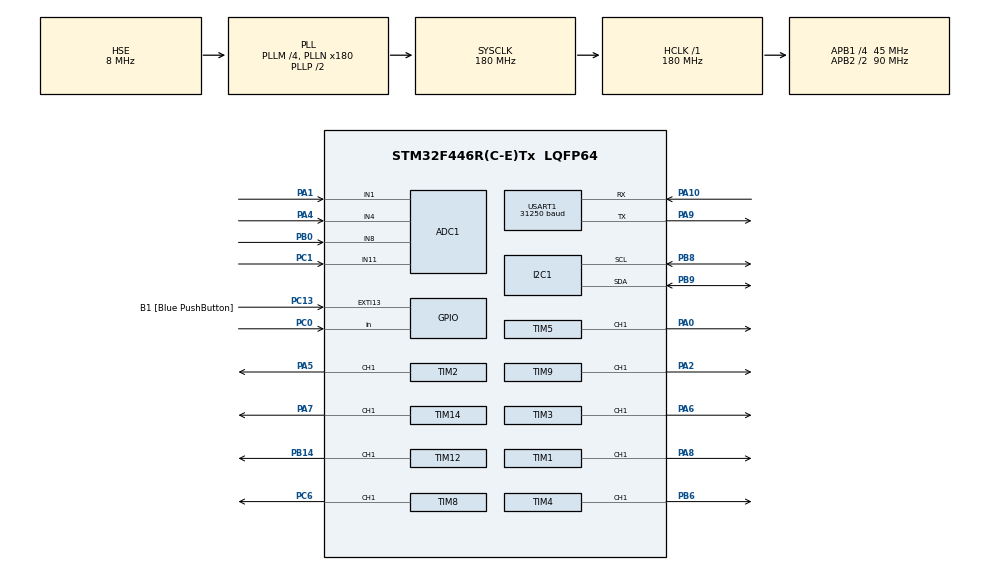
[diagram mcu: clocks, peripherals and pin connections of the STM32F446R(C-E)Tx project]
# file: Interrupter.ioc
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ADC1.Channel-0\#ChannelRegularConversion=ADC_CHANNEL_1
ADC1.Channel-1\#ChannelRegularConversion=ADC_CHANNEL_4
ADC1.Channel-2\#ChannelRegularConversion=ADC_CHANNEL_8
ADC1.Channel-3\#ChannelRegularConversion=ADC_CHANNEL_11
ADC1.ContinuousConvMode=ENABLE
ADC1.DMAContinuousRequests=ENABLE
ADC1.EOCSelection=ADC_EOC_SEQ_CONV
ADC1.InjNumberOfConversion=0
ADC1.NbrOfConversion=4
ADC1.NbrOfConversionFlag=1
ADC1.Rank-0\#ChannelRegularConversion=1
ADC1.Rank-1\#ChannelRegularConversion=2
ADC1.Rank-2\#ChannelRegularConversion=3
ADC1.Rank-3\#ChannelRegularConversion=4
ADC1.SamplingTime-0\#ChannelRegularConversion=ADC_SAMPLETIME_56CYCLES
ADC1.SamplingTime-1\#ChannelRegularConversion=ADC_SAMPLETIME_56CYCLES
ADC1.SamplingTime-2\#ChannelRegularConversion=ADC_SAMPLETIME_56CYCLES
ADC1.SamplingTime-3\#ChannelRegularConversion=ADC_SAMPLETIME_56CYCLES
ADC1.ScanConvMode=ENABLE
ADC1.master=1
Dma.ADC1.0.Direction=DMA_PERIPH_TO_MEMORY
Dma.ADC1.0.FIFOMode=DMA_FIFOMODE_DISABLE
Dma.ADC1.0.Instance=DMA2_Stream0
Dma.ADC1.0.MemDataAlignment=DMA_MDATAALIGN_HALFWORD
Dma.ADC1.0.MemInc=DMA_MINC_ENABLE
Dma.ADC1.0.Mode=DMA_CIRCULAR
Dma.ADC1.0.PeriphDataAlignment=DMA_PDATAALIGN_HALFWORD
Dma.ADC1.0.PeriphInc=DMA_PINC_DISABLE
Dma.ADC1.0.Priority=DMA_PRIORITY_LOW
Dma.Request0=ADC1
Mcu.Family=STM32F4
Mcu.Name=STM32F446R(C-E)Tx
Mcu.Package=LQFP64
NVIC.DMA2_Stream0_IRQn=true\:0\:0\:false\:false\:true\:false\:true\:true
NVIC.PriorityGroup=NVIC_PRIORITYGROUP_0
NVIC.TIM6_DAC_IRQn=true\:0\:0\:false\:false\:true\:false\:true\:true
NVIC.TimeBase=TIM6_DAC_IRQn
NVIC.TimeBaseIP=TIM6
NVIC.USART1_IRQn=true\:0\:0\:false\:false\:true\:true\:true\:true
PA0-WKUP.Signal=S_TIM5_CH1
PA1.Signal=ADCx_IN1
PA10.Mode=Asynchronous
PA10.Signal=USART1_RX
PA13.GPIO_Label=TMS
PA13.Mode=Serial_Wire
PA13.Signal=SYS_JTMS-SWDIO
PA14.GPIO_Label=TCK
PA14.Mode=Serial_Wire
PA14.Signal=SYS_JTCK-SWCLK
PA2.Signal=S_TIM9_CH1
PA4.Signal=ADCx_IN4
PA5.Signal=S_TIM2_CH1_ETR
PA6.Signal=S_TIM3_CH1
PA7.Signal=S_TIM14_CH1
PA8.Signal=S_TIM1_CH1
PA9.Mode=Asynchronous
PA9.Signal=USART1_TX
PB0.Signal=ADCx_IN8
PB14.Signal=S_TIM12_CH1
PB6.Signal=S_TIM4_CH1
PB8.Mode=I2C
PB8.Signal=I2C1_SCL
PB9.Mode=I2C
PB9.Signal=I2C1_SDA
PC0.GPIO_PuPd=GPIO_PULLUP
PC0.Signal=GPIO_Input
PC1.Signal=ADCx_IN11
PC13.GPIO_Label=B1 [Blue PushButton]
PC13.GPIO_ModeDefaultEXTI=GPIO_MODE_IT_FALLING
PC13.Signal=GPXTI13
PC6.Signal=S_TIM8_CH1
PH0-OSC_IN.Mode=HSE-External-Clock-Source
PH0-OSC_IN.Signal=RCC_OSC_IN
PH1-OSC_OUT.Mode=HSE-External-Clock-Source
PH1-OSC_OUT.Signal=RCC_OSC_OUT
ProjectManager.HeapSize=0x200
ProjectManager.StackSize=0x400
ProjectManager.TargetToolchain=STM32CubeIDE
RCC.48MHZClocksFreq_Value=84000000
RCC.AHBFreq_Value=180000000
RCC.APB1CLKDivider=RCC_HCLK_DIV4
RCC.APB1Freq_Value=45000000
RCC.APB1TimFreq_Value=90000000
RCC.APB2CLKDivider=RCC_HCLK_DIV2
RCC.APB2Freq_Value=90000000
RCC.APB2TimFreq_Value=180000000
RCC.CortexFreq_Value=180000000
RCC.FLatency-AdvancedSettings=FLASH_LATENCY_5
RCC.HCLKFreq_Value=180000000
RCC.HSE_VALUE=8000000
RCC.HSI_VALUE=16000000
RCC.PLLM=4
RCC.PLLN=180
RCC.PLLSourceVirtual=RCC_PLLSOURCE_HSE
RCC.SYSCLKFreq_VALUE=180000000
RCC.SYSCLKSource=RCC_SYSCLKSOURCE_PLLCLK
RCC.USBFreq_Value=180000000
RCC.VCOOutputFreq_Value=360000000
SH.ADCx_IN1.0=ADC1_IN1,IN1
SH.ADCx_IN11.0=ADC1_IN11,IN11
SH.ADCx_IN4.0=ADC1_IN4,IN4
SH.ADCx_IN8.0=ADC1_IN8,IN8
SH.S_TIM12_CH1.0=TIM12_CH1,PWM Generation1 CH1
SH.S_TIM14_CH1.0=TIM14_CH1,PWM Generation1 CH1
SH.S_TIM1_CH1.0=TIM1_CH1,PWM Generation1 CH1
SH.S_TIM2_CH1_ETR.0=TIM2_CH1,PWM Generation1 CH1
SH.S_TIM3_CH1.0=TIM3_CH1,PWM Generation1 CH1
SH.S_TIM4_CH1.0=TIM4_CH1,PWM Generation1 CH1
SH.S_TIM5_CH1.0=TIM5_CH1,PWM Generation1 CH1
SH.S_TIM8_CH1.0=TIM8_CH1,PWM Generation1 CH1
SH.S_TIM9_CH1.0=TIM9_CH1,PWM Generation1 CH1
TIM1.Channel-PWM\ Generation1\ CH1=TIM_CHANNEL_1
TIM12.Channel-PWM\ Generation1\ CH1=TIM_CHANNEL_1
TIM12.Prescaler=89
TIM14.Channel=TIM_CHANNEL_1
TIM14.Prescaler=179
TIM2.Channel-PWM\ Generation1\ CH1=TIM_CHANNEL_1
TIM2.Prescaler=89
TIM3.Channel-PWM\ Generation1\ CH1=TIM_CHANNEL_1
TIM3.Prescaler=89
TIM4.Channel-PWM\ Generation1\ CH1=TIM_CHANNEL_1
TIM4.Prescaler=89
TIM5.Channel-PWM\ Generation1\ CH1=TIM_CHANNEL_1
TIM5.Prescaler=89
TIM8.Channel-PWM\ Generation1\ CH1=TIM_CHANNEL_1
TIM8.Prescaler=179
TIM9.Channel-PWM\ Generation1\ CH1=TIM_CHANNEL_1
TIM9.Prescaler=179
USART1.BaudRate=31250
USART1.VirtualMode=VM_ASYNC
VP_SYS_VS_tim6.Mode=TIM6
VP_TIM12_VS_ClockSourceINT.Mode=Internal
VP_TIM14_VS_ClockSourceINT.Mode=Enable_Timer
VP_TIM1_VS_ClockSourceINT.Mode=Internal
VP_TIM2_VS_ClockSourceINT.Mode=Internal
VP_TIM3_VS_ClockSourceINT.Mode=Internal
VP_TIM4_VS_ClockSourceINT.Mode=Internal
VP_TIM5_VS_ClockSourceINT.Mode=Internal
VP_TIM8_VS_ClockSourceINT.Mode=Internal
VP_TIM9_VS_ClockSourceINT.Mode=Internal
board=NUCLEO-F446RE

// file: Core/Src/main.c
/* USER CODE BEGIN Header */
/* USER CODE END Header */
#include "main.h"

/* USER CODE BEGIN Includes */
#include "lcd_driver.h"
#include <stdio.h>
#include <stdlib.h>
#include <math.h>
/* USER CODE END Includes */

/* USER CODE BEGIN PTD */
// アプリケーションの動作モードを定義
typedef enum {
  MODE_PULSE, // パルスモード
  MODE_MIDI,   // MIDIモード
  MODE_MIDI_LOUDNESS  // ★MIDIモード（音圧調整版）を追加
} AppMode_t;
// --- ↓MIDIヴォイスの状態を管理する構造体を定義↓ ---
typedef struct {
	uint8_t active;       // ヴォイスが使用中か (1:使用中, 0:空き)
	uint8_t note_number;  // 発音中のノート番号
	uint32_t arr;         // その音の周期(ARR)
} MidiVoice_t;
/* USER CODE END PTD */

/* USER CODE BEGIN PD */
// --- ファンクションジェネレータ(FG)機能の定数定義 ---
// D7(TIM1)を使用するように修正
#define FG_TIM_CLK 180000000UL // TIM1のクロック周波数 (180MHz)
#define FG_FREQ_MIN 90000UL    // FGの最低周波数 (90kHz)
#define FG_FREQ_MAX 300000UL   // FGの最高周波数 (300kHz)
#define FG_FINE_TUNE_HZ 10000UL // ★微調整の全範囲(Hz)。例: 10kHz

// 周波数からタイマーのARR(周期)レジスタの値を計算するためのマクロ
// 180MHzクロックで再計算
#define FG_ARR_MAX ((FG_TIM_CLK / FG_FREQ_MIN) - 1) // 1999
#define FG_ARR_MIN ((FG_TIM_CLK / FG_FREQ_MAX) - 1) // 599

// 可変抵抗のADC値の合計の最大値 (A3:4095 + A4:4095)
#define FG_ADC_TOTAL_MAX (4095 + 4095)

// --- パルスモード用の定数 (TIM2 Prescaler=8 向け) ---
#define PULSE_FREQ_MIN 1UL
#define PULSE_FREQ_MAX 440UL
#define PULSE_TIM_CLK 90000000UL
#define PULSE_TIM_PSC 8
#define PULSE_CLOCKS_PER_COUNT (PULSE_TIM_PSC + 1)
#define PULSE_COUNTS_PER_SEC (PULSE_TIM_CLK / PULSE_CLOCKS_PER_COUNT) // 10,000,000
#define PULSE_ON_TIME_MAX_US 60UL
#define ADC_DEAD_ZONE 150

// --- MIDIモード用のタイマー定数 ---
#define MIDI_COUNTS_PER_SEC 1000000UL // ★★★ この行を追加 ★★★
#define PULSE_TIM2_PSC 8      // パルスモードで使うTIM2のプリスケーラー値
#define MIDI_TIM2_PSC  89     // MIDIモードで使うTIM2のプリスケーラー値

#define MIDI_MODE_SELECT_MIN_ADC 100  // この値より下なら「最低値」とみなす
#define MIDI_MODE_SELECT_MAX_ADC 2048 // この値より上なら「最大値」とみなす

// --- 移動平均フィルタ用の追加変数 ---
#define MOVING_AVERAGE_SAMPLES 10  // 平均を取るサンプル数。5は一般的な値です。
#define HYSTERESIS_THRESHOLD 12    // ヒステリシスのしきい値

// ADCの過去の測定値を保存する履歴用の2次元配列
uint16_t adc_history[4][MOVING_AVERAGE_SAMPLES] = {{0}}; // {{0}}で全要素を0に初期化
// 次にデータを書き込む履歴配列の場所を示すインデックス
uint8_t adc_history_index = 0;
/* USER CODE END PD */

ADC_HandleTypeDef hadc1;
DMA_HandleTypeDef hdma_adc1;

I2C_HandleTypeDef hi2c1;

TIM_HandleTypeDef htim1;
TIM_HandleTypeDef htim2;
TIM_HandleTypeDef htim3;
TIM_HandleTypeDef htim4;
TIM_HandleTypeDef htim5;
TIM_HandleTypeDef htim8;
TIM_HandleTypeDef htim9;
TIM_HandleTypeDef htim12;
TIM_HandleTypeDef htim14;

UART_HandleTypeDef huart1;

/* USER CODE BEGIN PV */
AppMode_t current_mode; // 現在の動作モードを保存する変数
volatile uint16_t adc_values[4];
uint16_t stable_adc_values[4] = {0}; // 安定化したADC値を保存する配列
float fg_frequency = 0.0f; // FGの現在周波数を格納する変数
char lcd_buffer[4][21]; // ★ここに lcd_buffer を移動する
uint32_t pulse_frequency = 0;
float pulse_on_time_us = 0.0f;
float midi_duty_cycle = 50.0f; // ★MIDIモードのDuty比を保存する変数
uint8_t midi_rx_byte; // 受信したMIDIデータを1バイト格納する
uint32_t current_midi_arr = 0;
// --- ↓2和音の各ヴォイスの状態を保存する配列を追加↓ ---
#define NUM_MIDI_VOICES 8
MidiVoice_t midi_voices[NUM_MIDI_VOICES];

// --- ↓リングバッファ用の変数を追加↓ ---
#define MIDI_BUFFER_SIZE 64 // バッファサイズ(必ず2のべき乗)
uint8_t midi_buffer[MIDI_BUFFER_SIZE];
volatile uint16_t midi_buffer_head = 0;

static int current_tim2_prescaler = -1;  // Prescalerの現在値を保持

volatile uint16_t midi_buffer_tail = 0;
volatile uint8_t midi_voices_full_flag = 0; // ★ヴォイスが満杯になったかどうかのフラグ
/* USER CODE END PV */

void SystemClock_Config(void);
static void MX_GPIO_Init(void);
static void MX_DMA_Init(void);
static void MX_ADC1_Init(void);
static void MX_I2C1_Init(void);
static void MX_TIM1_Init(void);
static void MX_TIM2_Init(void);
static void MX_TIM3_Init(void);
static void MX_TIM4_Init(void);
static void MX_TIM5_Init(void);
static void MX_TIM8_Init(void);
static void MX_TIM9_Init(void);
static void MX_TIM12_Init(void);
static void MX_TIM14_Init(void);
static void MX_USART1_UART_Init(void);
/* USER CODE BEGIN PFP */
void Update_Inputs(void);
void Update_Function_Generator(void);
void Update_Pulse_Mode(void); // ★この行を追加
void Update_LCD(void);
void Update_MIDI_Mode(void);
void Process_MIDI_Byte(uint8_t byte);
uint8_t Midi_NoteOn(uint8_t note, uint8_t velocity); // ★追加
void Midi_NoteOff(uint8_t note);                  // ★追加
float Midi_Note_To_Frequency(uint8_t note);
float Get_Adjusted_Duty(uint8_t note_number); // ★この行を追加
void Set_TIM2_Prescaler(uint16_t new_prescaler);
/* USER CODE END PFP */

int main(void)
{

  /* MCU Configuration--------------------------------------------------------*/

  /* Reset of all peripherals, Initializes the Flash interface and the Systick. */
  HAL_Init();

  /* USER CODE BEGIN Init */
  HAL_Delay(2000);
  /* USER CODE END Init */

  /* Configure the system clock */
  SystemClock_Config();

  /* Initialize all configured peripherals */
  MX_GPIO_Init();
  MX_DMA_Init();
  MX_ADC1_Init();
  MX_I2C1_Init();
  MX_TIM1_Init();
  MX_TIM2_Init();
  MX_TIM3_Init();
  MX_TIM4_Init();
  MX_TIM5_Init();
  MX_TIM8_Init();
  MX_TIM9_Init();
  MX_TIM12_Init();
  MX_TIM14_Init();
  MX_USART1_UART_Init();
  /* USER CODE BEGIN 2 */
  HAL_Delay(50);
  lcd_init();
  HAL_ADC_Start_DMA(&hadc1, (uint32_t*)adc_values, 4);

  // --- 全てのタイマーのPWM出力を開始 ---
  HAL_TIM_PWM_Start(&htim1, TIM_CHANNEL_1);
  HAL_TIM_PWM_Start(&htim2, TIM_CHANNEL_1);
  HAL_TIM_PWM_Start(&htim3, TIM_CHANNEL_1);
  HAL_TIM_PWM_Start(&htim4, TIM_CHANNEL_1);
  HAL_TIM_PWM_Start(&htim5, TIM_CHANNEL_1);
  HAL_TIM_PWM_Start(&htim8, TIM_CHANNEL_1);
  HAL_TIM_PWM_Start(&htim9, TIM_CHANNEL_1);
  HAL_TIM_PWM_Start(&htim12, TIM_CHANNEL_1);
  HAL_TIM_PWM_Start(&htim14, TIM_CHANNEL_1);

  // ★★★ ここからモード選択処理 ★★★

  // ADCの最初の読み取りが完了するのを少し待つ
  HAL_Delay(10);
  // 移動平均フィルタの履歴バッファを現在のADC値で満たすために、
  // サンプル数と同じ回数だけUpdate_Inputs()を呼び出す
  for (int i = 0; i < MOVING_AVERAGE_SAMPLES; i++) {
      Update_Inputs();
      HAL_Delay(1); // ADCの更新を待つためのごく短い遅延
  }

  // トグルスイッチ(A5)の状態で、パルスモードかMIDI系モードかを判断
  if (HAL_GPIO_ReadPin(GPIOC, GPIO_PIN_0) == GPIO_PIN_SET) {
    // スイッチがONなら、パルスモード
    current_mode = MODE_PULSE;
  } else {
    // スイッチがOFFなら、可変抵抗(A2)の値でMIDIモードの種類を判断
    if (stable_adc_values[1] > MIDI_MODE_SELECT_MAX_ADC) {
      // A2が最大値なら、音圧調整版MIDIモード
      current_mode = MODE_MIDI_LOUDNESS;
    } else {
      // それ以外（最低値や中間）なら、通常MIDIモード
      current_mode = MODE_MIDI;
    }
  }

  // ★★★ ここまでモード選択処理 ★★★

  // MIDI(UART)の受信を開始
  HAL_UART_Receive_IT(&huart1, &midi_rx_byte, 1);
  /* USER CODE END 2 */

  /* Infinite loop */
  /* USER CODE BEGIN WHILE */
  while (1)
  {
	  Update_Inputs();

	  if (current_mode == MODE_PULSE) {
		  Update_Pulse_Mode();
	  } else { // MIDIモードの場合
		  Update_MIDI_Mode(); // ★追加
	  }

	  Update_Function_Generator();
	  Update_LCD();
    /* USER CODE END WHILE */

  }
}

void SystemClock_Config(void)
{
  RCC_OscInitTypeDef RCC_OscInitStruct = {0};
  RCC_ClkInitTypeDef RCC_ClkInitStruct = {0};

  /** Configure the main internal regulator output voltage
  */
  __HAL_RCC_PWR_CLK_ENABLE();
  __HAL_PWR_VOLTAGESCALING_CONFIG(PWR_REGULATOR_VOLTAGE_SCALE1);

  /** Initializes the RCC Oscillators according to the specified parameters
  * in the RCC_OscInitTypeDef structure.
  */
  RCC_OscInitStruct.OscillatorType = RCC_OSCILLATORTYPE_HSE;
  RCC_OscInitStruct.HSEState = RCC_HSE_BYPASS;
  RCC_OscInitStruct.PLL.PLLState = RCC_PLL_ON;
  RCC_OscInitStruct.PLL.PLLSource = RCC_PLLSOURCE_HSE;
  RCC_OscInitStruct.PLL.PLLM = 4;
  RCC_OscInitStruct.PLL.PLLN = 180;
  RCC_OscInitStruct.PLL.PLLP = RCC_PLLP_DIV2;
  RCC_OscInitStruct.PLL.PLLQ = 2;
  RCC_OscInitStruct.PLL.PLLR = 2;
  if (HAL_RCC_OscConfig(&RCC_OscInitStruct) != HAL_OK)
  {
    Error_Handler();
  }

  /** Activate the Over-Drive mode
  */
  if (HAL_PWREx_EnableOverDrive() != HAL_OK)
  {
    Error_Handler();
  }

  /** Initializes the CPU, AHB and APB buses clocks
  */
  RCC_ClkInitStruct.ClockType = RCC_CLOCKTYPE_HCLK|RCC_CLOCKTYPE_SYSCLK
                              |RCC_CLOCKTYPE_PCLK1|RCC_CLOCKTYPE_PCLK2;
  RCC_ClkInitStruct.SYSCLKSource = RCC_SYSCLKSOURCE_PLLCLK;
  RCC_ClkInitStruct.AHBCLKDivider = RCC_SYSCLK_DIV1;
  RCC_ClkInitStruct.APB1CLKDivider = RCC_HCLK_DIV4;
  RCC_ClkInitStruct.APB2CLKDivider = RCC_HCLK_DIV2;

  if (HAL_RCC_ClockConfig(&RCC_ClkInitStruct, FLASH_LATENCY_5) != HAL_OK)
  {
    Error_Handler();
  }
}

static void MX_ADC1_Init(void)
{

  ADC_ChannelConfTypeDef sConfig = {0};

  /** Configure the global features of the ADC (Clock, Resolution, Data Alignment and number of conversion)
  */
  hadc1.Instance = ADC1;
  hadc1.Init.ClockPrescaler = ADC_CLOCK_SYNC_PCLK_DIV4;
  hadc1.Init.Resolution = ADC_RESOLUTION_12B;
  hadc1.Init.ScanConvMode = ENABLE;
  hadc1.Init.ContinuousConvMode = ENABLE;
  hadc1.Init.DiscontinuousConvMode = DISABLE;
  hadc1.Init.ExternalTrigConvEdge = ADC_EXTERNALTRIGCONVEDGE_NONE;
  hadc1.Init.ExternalTrigConv = ADC_SOFTWARE_START;
  hadc1.Init.DataAlign = ADC_DATAALIGN_RIGHT;
  hadc1.Init.NbrOfConversion = 4;
  hadc1.Init.DMAContinuousRequests = ENABLE;
  hadc1.Init.EOCSelection = ADC_EOC_SEQ_CONV;
  if (HAL_ADC_Init(&hadc1) != HAL_OK)
  {
    Error_Handler();
  }

  /** Configure for the selected ADC regular channel its corresponding rank in the sequencer and its sample time.
  */
  sConfig.Channel = ADC_CHANNEL_1;
  sConfig.Rank = 1;
  sConfig.SamplingTime = ADC_SAMPLETIME_480CYCLES;
  if (HAL_ADC_ConfigChannel(&hadc1, &sConfig) != HAL_OK)
  {
    Error_Handler();
  }

  /** Configure for the selected ADC regular channel its corresponding rank in the sequencer and its sample time.
  */
  sConfig.Channel = ADC_CHANNEL_4;
  sConfig.Rank = 2;
  sConfig.SamplingTime = ADC_SAMPLETIME_480CYCLES;
  if (HAL_ADC_ConfigChannel(&hadc1, &sConfig) != HAL_OK)
  {
    Error_Handler();
  }

  /** Configure for the selected ADC regular channel its corresponding rank in the sequencer and its sample time.
  */
  sConfig.Channel = ADC_CHANNEL_8;
  sConfig.Rank = 3;
  sConfig.SamplingTime = ADC_SAMPLETIME_480CYCLES;
  if (HAL_ADC_ConfigChannel(&hadc1, &sConfig) != HAL_OK)
  {
    Error_Handler();
  }

  /** Configure for the selected ADC regular channel its corresponding rank in the sequencer and its sample time.
  */
  sConfig.Channel = ADC_CHANNEL_11;
  sConfig.Rank = 4;
  sConfig.SamplingTime = ADC_SAMPLETIME_480CYCLES;
  if (HAL_ADC_ConfigChannel(&hadc1, &sConfig) != HAL_OK)
  {
    Error_Handler();
  }

}

static void MX_I2C1_Init(void)
{

  hi2c1.Instance = I2C1;
  hi2c1.Init.ClockSpeed = 100000;
  hi2c1.Init.DutyCycle = I2C_DUTYCYCLE_2;
  hi2c1.Init.OwnAddress1 = 0;
  hi2c1.Init.AddressingMode = I2C_ADDRESSINGMODE_7BIT;
  hi2c1.Init.DualAddressMode = I2C_DUALADDRESS_DISABLE;
  hi2c1.Init.OwnAddress2 = 0;
  hi2c1.Init.GeneralCallMode = I2C_GENERALCALL_DISABLE;
  hi2c1.Init.NoStretchMode = I2C_NOSTRETCH_DISABLE;
  if (HAL_I2C_Init(&hi2c1) != HAL_OK)
  {
    Error_Handler();
  }

}

static void MX_TIM1_Init(void)
{

  TIM_ClockConfigTypeDef sClockSourceConfig = {0};
  TIM_MasterConfigTypeDef sMasterConfig = {0};
  TIM_OC_InitTypeDef sConfigOC = {0};
  TIM_BreakDeadTimeConfigTypeDef sBreakDeadTimeConfig = {0};

  htim1.Instance = TIM1;
  htim1.Init.Prescaler = 0;
  htim1.Init.CounterMode = TIM_COUNTERMODE_UP;
  htim1.Init.Period = 65535;
  htim1.Init.ClockDivision = TIM_CLOCKDIVISION_DIV1;
  htim1.Init.RepetitionCounter = 0;
  htim1.Init.AutoReloadPreload = TIM_AUTORELOAD_PRELOAD_DISABLE;
  if (HAL_TIM_Base_Init(&htim1) != HAL_OK)
  {
    Error_Handler();
  }
  sClockSourceConfig.ClockSource = TIM_CLOCKSOURCE_INTERNAL;
  if (HAL_TIM_ConfigClockSource(&htim1, &sClockSourceConfig) != HAL_OK)
  {
    Error_Handler();
  }
  if (HAL_TIM_PWM_Init(&htim1) != HAL_OK)
  {
    Error_Handler();
  }
  sMasterConfig.MasterOutputTrigger = TIM_TRGO_RESET;
  sMasterConfig.MasterSlaveMode = TIM_MASTERSLAVEMODE_DISABLE;
  if (HAL_TIMEx_MasterConfigSynchronization(&htim1, &sMasterConfig) != HAL_OK)
  {
    Error_Handler();
  }
  sConfigOC.OCMode = TIM_OCMODE_PWM1;
  sConfigOC.Pulse = 0;
  sConfigOC.OCPolarity = TIM_OCPOLARITY_HIGH;
  sConfigOC.OCNPolarity = TIM_OCNPOLARITY_HIGH;
  sConfigOC.OCFastMode = TIM_OCFAST_DISABLE;
  sConfigOC.OCIdleState = TIM_OCIDLESTATE_RESET;
  sConfigOC.OCNIdleState = TIM_OCNIDLESTATE_RESET;
  if (HAL_TIM_PWM_ConfigChannel(&htim1, &sConfigOC, TIM_CHANNEL_1) != HAL_OK)
  {
    Error_Handler();
  }
  sBreakDeadTimeConfig.OffStateRunMode = TIM_OSSR_DISABLE;
  sBreakDeadTimeConfig.OffStateIDLEMode = TIM_OSSI_DISABLE;
  sBreakDeadTimeConfig.LockLevel = TIM_LOCKLEVEL_OFF;
  sBreakDeadTimeConfig.DeadTime = 0;
  sBreakDeadTimeConfig.BreakState = TIM_BREAK_DISABLE;
  sBreakDeadTimeConfig.BreakPolarity = TIM_BREAKPOLARITY_HIGH;
  sBreakDeadTimeConfig.AutomaticOutput = TIM_AUTOMATICOUTPUT_DISABLE;
  if (HAL_TIMEx_ConfigBreakDeadTime(&htim1, &sBreakDeadTimeConfig) != HAL_OK)
  {
    Error_Handler();
  }
  HAL_TIM_MspPostInit(&htim1);

}

static void MX_TIM2_Init(void)
{

  TIM_ClockConfigTypeDef sClockSourceConfig = {0};
  TIM_MasterConfigTypeDef sMasterConfig = {0};
  TIM_OC_InitTypeDef sConfigOC = {0};

  htim2.Instance = TIM2;
  htim2.Init.Prescaler = 89;
  htim2.Init.CounterMode = TIM_COUNTERMODE_UP;
  htim2.Init.Period = 4294967295;
  htim2.Init.ClockDivision = TIM_CLOCKDIVISION_DIV1;
  htim2.Init.AutoReloadPreload = TIM_AUTORELOAD_PRELOAD_DISABLE;
  if (HAL_TIM_Base_Init(&htim2) != HAL_OK)
  {
    Error_Handler();
  }
  sClockSourceConfig.ClockSource = TIM_CLOCKSOURCE_INTERNAL;
  if (HAL_TIM_ConfigClockSource(&htim2, &sClockSourceConfig) != HAL_OK)
  {
    Error_Handler();
  }
  if (HAL_TIM_PWM_Init(&htim2) != HAL_OK)
  {
    Error_Handler();
  }
  sMasterConfig.MasterOutputTrigger = TIM_TRGO_RESET;
  sMasterConfig.MasterSlaveMode = TIM_MASTERSLAVEMODE_DISABLE;
  if (HAL_TIMEx_MasterConfigSynchronization(&htim2, &sMasterConfig) != HAL_OK)
  {
    Error_Handler();
  }
  sConfigOC.OCMode = TIM_OCMODE_PWM1;
  sConfigOC.Pulse = 0;
  sConfigOC.OCPolarity = TIM_OCPOLARITY_HIGH;
  sConfigOC.OCFastMode = TIM_OCFAST_DISABLE;
  if (HAL_TIM_PWM_ConfigChannel(&htim2, &sConfigOC, TIM_CHANNEL_1) != HAL_OK)
  {
    Error_Handler();
  }
  HAL_TIM_MspPostInit(&htim2);

}

static void MX_TIM3_Init(void)
{

  TIM_ClockConfigTypeDef sClockSourceConfig = {0};
  TIM_MasterConfigTypeDef sMasterConfig = {0};
  TIM_OC_InitTypeDef sConfigOC = {0};

  htim3.Instance = TIM3;
  htim3.Init.Prescaler = 89;
  htim3.Init.CounterMode = TIM_COUNTERMODE_UP;
  htim3.Init.Period = 65535;
  htim3.Init.ClockDivision = TIM_CLOCKDIVISION_DIV1;
  htim3.Init.AutoReloadPreload = TIM_AUTORELOAD_PRELOAD_DISABLE;
  if (HAL_TIM_Base_Init(&htim3) != HAL_OK)
  {
    Error_Handler();
  }
  sClockSourceConfig.ClockSource = TIM_CLOCKSOURCE_INTERNAL;
  if (HAL_TIM_ConfigClockSource(&htim3, &sClockSourceConfig) != HAL_OK)
  {
    Error_Handler();
  }
  if (HAL_TIM_PWM_Init(&htim3) != HAL_OK)
  {
    Error_Handler();
  }
  sMasterConfig.MasterOutputTrigger = TIM_TRGO_RESET;
  sMasterConfig.MasterSlaveMode = TIM_MASTERSLAVEMODE_DISABLE;
  if (HAL_TIMEx_MasterConfigSynchronization(&htim3, &sMasterConfig) != HAL_OK)
  {
    Error_Handler();
  }
  sConfigOC.OCMode = TIM_OCMODE_PWM1;
  sConfigOC.Pulse = 0;
  sConfigOC.OCPolarity = TIM_OCPOLARITY_HIGH;
  sConfigOC.OCFastMode = TIM_OCFAST_DISABLE;
  if (HAL_TIM_PWM_ConfigChannel(&htim3, &sConfigOC, TIM_CHANNEL_1) != HAL_OK)
  {
    Error_Handler();
  }
  HAL_TIM_MspPostInit(&htim3);

}

static void MX_TIM4_Init(void)
{

  TIM_ClockConfigTypeDef sClockSourceConfig = {0};
  TIM_MasterConfigTypeDef sMasterConfig = {0};
  TIM_OC_InitTypeDef sConfigOC = {0};

  htim4.Instance = TIM4;
  htim4.Init.Prescaler = 89;
  htim4.Init.CounterMode = TIM_COUNTERMODE_UP;
  htim4.Init.Period = 65535;
  htim4.Init.ClockDivision = TIM_CLOCKDIVISION_DIV1;
  htim4.Init.AutoReloadPreload = TIM_AUTORELOAD_PRELOAD_DISABLE;
  if (HAL_TIM_Base_Init(&htim4) != HAL_OK)
  {
    Error_Handler();
  }
  sClockSourceConfig.ClockSource = TIM_CLOCKSOURCE_INTERNAL;
  if (HAL_TIM_ConfigClockSource(&htim4, &sClockSourceConfig) != HAL_OK)
  {
    Error_Handler();
  }
  if (HAL_TIM_PWM_Init(&htim4) != HAL_OK)
  {
    Error_Handler();
  }
  sMasterConfig.MasterOutputTrigger = TIM_TRGO_RESET;
  sMasterConfig.MasterSlaveMode = TIM_MASTERSLAVEMODE_DISABLE;
  if (HAL_TIMEx_MasterConfigSynchronization(&htim4, &sMasterConfig) != HAL_OK)
  {
    Error_Handler();
  }
  sConfigOC.OCMode = TIM_OCMODE_PWM1;
  sConfigOC.Pulse = 0;
  sConfigOC.OCPolarity = TIM_OCPOLARITY_HIGH;
  sConfigOC.OCFastMode = TIM_OCFAST_DISABLE;
  if (HAL_TIM_PWM_ConfigChannel(&htim4, &sConfigOC, TIM_CHANNEL_1) != HAL_OK)
  {
    Error_Handler();
  }
  HAL_TIM_MspPostInit(&htim4);

}

static void MX_TIM5_Init(void)
{

  TIM_ClockConfigTypeDef sClockSourceConfig = {0};
  TIM_MasterConfigTypeDef sMasterConfig = {0};
  TIM_OC_InitTypeDef sConfigOC = {0};

  htim5.Instance = TIM5;
  htim5.Init.Prescaler = 89;
  htim5.Init.CounterMode = TIM_COUNTERMODE_UP;
  htim5.Init.Period = 4294967295;
  htim5.Init.ClockDivision = TIM_CLOCKDIVISION_DIV1;
  htim5.Init.AutoReloadPreload = TIM_AUTORELOAD_PRELOAD_DISABLE;
  if (HAL_TIM_Base_Init(&htim5) != HAL_OK)
  {
    Error_Handler();
  }
  sClockSourceConfig.ClockSource = TIM_CLOCKSOURCE_INTERNAL;
  if (HAL_TIM_ConfigClockSource(&htim5, &sClockSourceConfig) != HAL_OK)
  {
    Error_Handler();
  }
  if (HAL_TIM_PWM_Init(&htim5) != HAL_OK)
  {
    Error_Handler();
  }
  sMasterConfig.MasterOutputTrigger = TIM_TRGO_RESET;
  sMasterConfig.MasterSlaveMode = TIM_MASTERSLAVEMODE_DISABLE;
  if (HAL_TIMEx_MasterConfigSynchronization(&htim5, &sMasterConfig) != HAL_OK)
  {
    Error_Handler();
  }
  sConfigOC.OCMode = TIM_OCMODE_PWM1;
  sConfigOC.Pulse = 0;
  sConfigOC.OCPolarity = TIM_OCPOLARITY_HIGH;
  sConfigOC.OCFastMode = TIM_OCFAST_DISABLE;
  if (HAL_TIM_PWM_ConfigChannel(&htim5, &sConfigOC, TIM_CHANNEL_1) != HAL_OK)
  {
    Error_Handler();
  }
  HAL_TIM_MspPostInit(&htim5);

}

static void MX_TIM8_Init(void)
{

  TIM_ClockConfigTypeDef sClockSourceConfig = {0};
  TIM_MasterConfigTypeDef sMasterConfig = {0};
  TIM_OC_InitTypeDef sConfigOC = {0};
  TIM_BreakDeadTimeConfigTypeDef sBreakDeadTimeConfig = {0};

  htim8.Instance = TIM8;
  htim8.Init.Prescaler = 179;
  htim8.Init.CounterMode = TIM_COUNTERMODE_UP;
  htim8.Init.Period = 65535;
  htim8.Init.ClockDivision = TIM_CLOCKDIVISION_DIV1;
  htim8.Init.RepetitionCounter = 0;
  htim8.Init.AutoReloadPreload = TIM_AUTORELOAD_PRELOAD_DISABLE;
  if (HAL_TIM_Base_Init(&htim8) != HAL_OK)
  {
    Error_Handler();
  }
  sClockSourceConfig.ClockSource = TIM_CLOCKSOURCE_INTERNAL;
  if (HAL_TIM_ConfigClockSource(&htim8, &sClockSourceConfig) != HAL_OK)
  {
    Error_Handler();
  }
  if (HAL_TIM_PWM_Init(&htim8) != HAL_OK)
  {
    Error_Handler();
  }
  sMasterConfig.MasterOutputTrigger = TIM_TRGO_RESET;
  sMasterConfig.MasterSlaveMode = TIM_MASTERSLAVEMODE_DISABLE;
  if (HAL_TIMEx_MasterConfigSynchronization(&htim8, &sMasterConfig) != HAL_OK)
  {
    Error_Handler();
  }
  sConfigOC.OCMode = TIM_OCMODE_PWM1;
  sConfigOC.Pulse = 0;
  sConfigOC.OCPolarity = TIM_OCPOLARITY_HIGH;
  sConfigOC.OCNPolarity = TIM_OCNPOLARITY_HIGH;
  sConfigOC.OCFastMode = TIM_OCFAST_DISABLE;
  sConfigOC.OCIdleState = TIM_OCIDLESTATE_RESET;
  sConfigOC.OCNIdleState = TIM_OCNIDLESTATE_RESET;
  if (HAL_TIM_PWM_ConfigChannel(&htim8, &sConfigOC, TIM_CHANNEL_1) != HAL_OK)
  {
    Error_Handler();
  }
  sBreakDeadTimeConfig.OffStateRunMode = TIM_OSSR_DISABLE;
  sBreakDeadTimeConfig.OffStateIDLEMode = TIM_OSSI_DISABLE;
  sBreakDeadTimeConfig.LockLevel = TIM_LOCKLEVEL_OFF;
  sBreakDeadTimeConfig.DeadTime = 0;
  sBreakDeadTimeConfig.BreakState = TIM_BREAK_DISABLE;
  sBreakDeadTimeConfig.BreakPolarity = TIM_BREAKPOLARITY_HIGH;
  sBreakDeadTimeConfig.AutomaticOutput = TIM_AUTOMATICOUTPUT_DISABLE;
  if (HAL_TIMEx_ConfigBreakDeadTime(&htim8, &sBreakDeadTimeConfig) != HAL_OK)
  {
    Error_Handler();
  }
  HAL_TIM_MspPostInit(&htim8);

}

static void MX_TIM9_Init(void)
{

  TIM_ClockConfigTypeDef sClockSourceConfig = {0};
  TIM_OC_InitTypeDef sConfigOC = {0};

  htim9.Instance = TIM9;
  htim9.Init.Prescaler = 179;
  htim9.Init.CounterMode = TIM_COUNTERMODE_UP;
  htim9.Init.Period = 65535;
  htim9.Init.ClockDivision = TIM_CLOCKDIVISION_DIV1;
  htim9.Init.AutoReloadPreload = TIM_AUTORELOAD_PRELOAD_DISABLE;
  if (HAL_TIM_Base_Init(&htim9) != HAL_OK)
  {
    Error_Handler();
  }
  sClockSourceConfig.ClockSource = TIM_CLOCKSOURCE_INTERNAL;
  if (HAL_TIM_ConfigClockSource(&htim9, &sClockSourceConfig) != HAL_OK)
  {
    Error_Handler();
  }
  if (HAL_TIM_PWM_Init(&htim9) != HAL_OK)
  {
    Error_Handler();
  }
  sConfigOC.OCMode = TIM_OCMODE_PWM1;
  sConfigOC.Pulse = 0;
  sConfigOC.OCPolarity = TIM_OCPOLARITY_HIGH;
  sConfigOC.OCFastMode = TIM_OCFAST_DISABLE;
  if (HAL_TIM_PWM_ConfigChannel(&htim9, &sConfigOC, TIM_CHANNEL_1) != HAL_OK)
  {
    Error_Handler();
  }
  HAL_TIM_MspPostInit(&htim9);

}

static void MX_TIM12_Init(void)
{

  TIM_ClockConfigTypeDef sClockSourceConfig = {0};
  TIM_OC_InitTypeDef sConfigOC = {0};

  htim12.Instance = TIM12;
  htim12.Init.Prescaler = 89;
  htim12.Init.CounterMode = TIM_COUNTERMODE_UP;
  htim12.Init.Period = 65535;
  htim12.Init.ClockDivision = TIM_CLOCKDIVISION_DIV1;
  htim12.Init.AutoReloadPreload = TIM_AUTORELOAD_PRELOAD_DISABLE;
  if (HAL_TIM_Base_Init(&htim12) != HAL_OK)
  {
    Error_Handler();
  }
  sClockSourceConfig.ClockSource = TIM_CLOCKSOURCE_INTERNAL;
  if (HAL_TIM_ConfigClockSource(&htim12, &sClockSourceConfig) != HAL_OK)
  {
    Error_Handler();
  }
  if (HAL_TIM_PWM_Init(&htim12) != HAL_OK)
  {
    Error_Handler();
  }
  sConfigOC.OCMode = TIM_OCMODE_PWM1;
  sConfigOC.Pulse = 0;
  sConfigOC.OCPolarity = TIM_OCPOLARITY_HIGH;
  sConfigOC.OCFastMode = TIM_OCFAST_DISABLE;
  if (HAL_TIM_PWM_ConfigChannel(&htim12, &sConfigOC, TIM_CHANNEL_1) != HAL_OK)
  {
    Error_Handler();
  }
  HAL_TIM_MspPostInit(&htim12);

}

static void MX_TIM14_Init(void)
{

  TIM_OC_InitTypeDef sConfigOC = {0};

  htim14.Instance = TIM14;
  htim14.Init.Prescaler = 179;
  htim14.Init.CounterMode = TIM_COUNTERMODE_UP;
  htim14.Init.Period = 65535;
  htim14.Init.ClockDivision = TIM_CLOCKDIVISION_DIV1;
  htim14.Init.AutoReloadPreload = TIM_AUTORELOAD_PRELOAD_DISABLE;
  if (HAL_TIM_Base_Init(&htim14) != HAL_OK)
  {
    Error_Handler();
  }
  if (HAL_TIM_PWM_Init(&htim14) != HAL_OK)
  {
    Error_Handler();
  }
  sConfigOC.OCMode = TIM_OCMODE_PWM1;
  sConfigOC.Pulse = 0;
  sConfigOC.OCPolarity = TIM_OCPOLARITY_HIGH;
  sConfigOC.OCFastMode = TIM_OCFAST_DISABLE;
  if (HAL_TIM_PWM_ConfigChannel(&htim14, &sConfigOC, TIM_CHANNEL_1) != HAL_OK)
  {
    Error_Handler();
  }
  HAL_TIM_MspPostInit(&htim14);

}

static void MX_USART1_UART_Init(void)
{

  huart1.Instance = USART1;
  huart1.Init.BaudRate = 31250;
  huart1.Init.WordLength = UART_WORDLENGTH_8B;
  huart1.Init.StopBits = UART_STOPBITS_1;
  huart1.Init.Parity = UART_PARITY_NONE;
  huart1.Init.Mode = UART_MODE_TX_RX;
  huart1.Init.HwFlowCtl = UART_HWCONTROL_NONE;
  huart1.Init.OverSampling = UART_OVERSAMPLING_16;
  if (HAL_UART_Init(&huart1) != HAL_OK)
  {
    Error_Handler();
  }

}

static void MX_DMA_Init(void)
{

  /* DMA controller clock enable */
  __HAL_RCC_DMA2_CLK_ENABLE();

  /* DMA interrupt init */
  /* DMA2_Stream0_IRQn interrupt configuration */
  HAL_NVIC_SetPriority(DMA2_Stream0_IRQn, 0, 0);
  HAL_NVIC_EnableIRQ(DMA2_Stream0_IRQn);

}

static void MX_GPIO_Init(void)
{
  GPIO_InitTypeDef GPIO_InitStruct = {0};

  /* GPIO Ports Clock Enable */
  __HAL_RCC_GPIOC_CLK_ENABLE();
  __HAL_RCC_GPIOH_CLK_ENABLE();
  __HAL_RCC_GPIOA_CLK_ENABLE();
  __HAL_RCC_GPIOB_CLK_ENABLE();

  /*Configure GPIO pin : B1_Pin */
  GPIO_InitStruct.Pin = B1_Pin;
  GPIO_InitStruct.Mode = GPIO_MODE_IT_FALLING;
  GPIO_InitStruct.Pull = GPIO_NOPULL;
  HAL_GPIO_Init(B1_GPIO_Port, &GPIO_InitStruct);

  /*Configure GPIO pin : PC0 */
  GPIO_InitStruct.Pin = GPIO_PIN_0;
  GPIO_InitStruct.Mode = GPIO_MODE_INPUT;
  GPIO_InitStruct.Pull = GPIO_PULLUP;
  HAL_GPIO_Init(GPIOC, &GPIO_InitStruct);

}

/* USER CODE BEGIN 4 */

/**
  * @brief MIDIリングバッファに1バイト書き込む
  */
void Midi_Buffer_Write(uint8_t byte)
{
	uint16_t next_tail = (midi_buffer_tail + 1) & (MIDI_BUFFER_SIZE - 1);
	if (next_tail != midi_buffer_head) { // バッファが満杯でなければ
		midi_buffer[midi_buffer_tail] = byte;
		midi_buffer_tail = next_tail;
	}
}

/**
  * @brief MIDIリングバッファから1バイト読み込む
  * @retval 読み込めた場合は1、バッファが空の場合は0
  */
uint8_t Midi_Buffer_Read(uint8_t *byte)
{
	if (midi_buffer_head == midi_buffer_tail) {
		return 0; // バッファは空
	}
	*byte = midi_buffer[midi_buffer_head];
	midi_buffer_head = (midi_buffer_head + 1) & (MIDI_BUFFER_SIZE - 1);
	return 1;
}

/**
  * @brief  入力値を読み取り、「移動平均フィルタ」と「ヒステリシス処理」で安定させます。
  * 単発のノイズは平均化で除去し、微小な振動はヒステリシスで無視します。
  */
void Update_Inputs(void)
{
	// --- ステップ1: 最新のADC値を履歴配列に保存 ---
	// 現在の生のADC値を、リングバッファとして機能する履歴配列の次の場所に格納します。
	for (int i = 0; i < 4; i++) {
		// adc_values[i]は、DMAによってバックグラウンドで常に更新されている想定です。
		adc_history[i][adc_history_index] = adc_values[i];
	}

	// --- ステップ2: 移動平均を計算し、ヒステリシスを適用 ---
	// 4つのアナログ入力チャンネルそれぞれについてループ処理します。
	for (int i = 0; i < 4; i++) {
		// 履歴データ（過去5回分）の合計を計算します。
		// 合計値が16ビットを超える可能性があるため、32ビットのlong型変数を使います。
		long sum = 0;
		for (int j = 0; j < MOVING_AVERAGE_SAMPLES; j++) {
			sum += adc_history[i][j];
		}

		// 合計をサンプル数で割り、移動平均値を算出します。
		uint16_t moving_average = sum / MOVING_AVERAGE_SAMPLES;

		// --- ステップ3: ヒステリシス処理 ---
		// 計算した「移動平均値」と「現在の安定値」の差の絶対値が
		// 設定したしきい値(HYSTERESIS_THRESHOLD)より大きい場合のみ、安定値を更新します。
		if (abs(stable_adc_values[i] - moving_average) > HYSTERESIS_THRESHOLD) {
			stable_adc_values[i] = moving_average;
		}
	}

	// --- ステップ4: 次の保存場所を示すインデックスを更新 ---
	// インデックスを一つ進めます。
	adc_history_index++;

	// インデックスが配列の末尾（サンプル数）に達したら、先頭の0に戻します。
	// これにより、常に最新の5つのデータが履歴として保持されます。
	if (adc_history_index >= MOVING_AVERAGE_SAMPLES) {
		adc_history_index = 0;
	}
}

/**
  * @brief  安定化された入力値に基づき、FGの周波数を計算し、タイマーを更新します。
  */
void Update_Function_Generator(void)
{
	uint16_t adc_coarse = stable_adc_values[2];
	uint16_t adc_fine   = stable_adc_values[3];

	uint32_t freq_range = FG_FREQ_MAX - FG_FREQ_MIN;
	uint32_t freq_coarse = FG_FREQ_MIN + (adc_coarse * freq_range / 4095);

	int32_t freq_offset = (adc_fine * FG_FINE_TUNE_HZ / 4095) - (FG_FINE_TUNE_HZ / 2);

	int32_t final_freq = freq_coarse + freq_offset;

	if (final_freq < FG_FREQ_MIN) {
		final_freq = FG_FREQ_MIN;
	}
	if (final_freq > FG_FREQ_MAX) {
		final_freq = FG_FREQ_MAX;
	}

	uint32_t new_arr = (FG_TIM_CLK / final_freq) - 1;

	__HAL_TIM_SET_AUTORELOAD(&htim1, new_arr);
	__HAL_TIM_SET_COMPARE(&htim1, TIM_CHANNEL_1, new_arr / 2);

	fg_frequency = final_freq;
}

/**
  * @brief  現在の状態に基づいてLCDの表示を更新します。(Fフラグ表示修正版)
  */
void Update_LCD(void)
{
	char lcd_buffer[4][21];

	// モードごとの表示を作成
	if (current_mode == MODE_PULSE) {
		sprintf(lcd_buffer[0], "Mode: PULSE         ");
		sprintf(lcd_buffer[1], "Freq: %-4luHz", pulse_frequency);
		sprintf(lcd_buffer[2], "ON-Time: %-7.1fus", pulse_on_time_us);
	} else { // MIDIモードの場合
		// 現在の発音数をカウント
		uint8_t active_voices = 0;
		for(int i=0; i<NUM_MIDI_VOICES; i++) {
			if (midi_voices[i].active) active_voices++;
		}

		if (current_mode == MODE_MIDI_LOUDNESS) {
			sprintf(lcd_buffer[0], "Mode: MIDI LOUDNESS ");
		} else {
			sprintf(lcd_buffer[0], "Mode: MIDI NORMAL   ");
		}
		sprintf(lcd_buffer[1], "Duty: %4.1f%%", midi_duty_cycle);

		// ★★★ 表示を「Notes: X F」の形式に戻します ★★★
		// midi_voices_full_flagが1なら"F"を、0なら空白" "を表示
		sprintf(lcd_buffer[2], "Notes: %d %s", active_voices, midi_voices_full_flag ? "F" : " ");
	}

	// 4行目: FG周波数は常に表示
	sprintf(lcd_buffer[3], "FG: %5.1f kHz", fg_frequency / 1000.0f);

	// LCDに書き込み
	for (int i=0; i<4; i++) {
		lcd_set_cursor(0, i);
		lcd_send_string(lcd_buffer[i]);
	}
}

/**
  * @brief  パルスモードの周波数とONタイムを計算し、TIM2を更新します。(最終修正版)
  */
void Update_Pulse_Mode(void)
{
    static uint32_t last_pulse_arr = 0;

    // TIM2のPrescalerをパルスモード用に設定（10MHz = 0.1μs/カウント）
    Set_TIM2_Prescaler(8);

    // 周波数ADC入力（A4）
    uint16_t adc_freq = stable_adc_values[1];
    if (adc_freq < ADC_DEAD_ZONE)
    {
        adc_freq = 0;
    }

    // 周波数を1〜440Hzで決定
    uint32_t freq_range = PULSE_FREQ_MAX - PULSE_FREQ_MIN;
    pulse_frequency = PULSE_FREQ_MIN + (adc_freq * freq_range / 4095);

    if (pulse_frequency == 0) {
        pulse_frequency = 1;
    }

    // 周波数からARRを計算（10MHzタイマクロック → 分解能0.1μs）
    uint32_t new_arr = (PULSE_COUNTS_PER_SEC / pulse_frequency) - 1;

    // ON時間ADC入力（A3）
    uint16_t adc_on_time = stable_adc_values[0];
    pulse_on_time_us = (float)adc_on_time * (float)PULSE_ON_TIME_MAX_US / 4095.0f;

    // CCR値を0.1μs単位で設定（CCR = ON時間 × 10）
    uint32_t new_ccr = (uint32_t)(pulse_on_time_us * 10.0f);

    if (new_ccr > new_arr) {
        new_ccr = new_arr;
    }

    // PWM設定反映
    __HAL_TIM_SET_COMPARE(&htim2, TIM_CHANNEL_1, new_ccr);
    if (new_arr != last_pulse_arr)
    {
        __HAL_TIM_SET_AUTORELOAD(&htim2, new_arr);
        HAL_TIM_GenerateEvent(&htim2, TIM_EVENTSOURCE_UPDATE);
        last_pulse_arr = new_arr;
    }

    // 実際に使われたCCR値からON時間(us)を再計算して表示用に反映
    pulse_on_time_us = (float)new_ccr / 10.0f;
}

/**
  * @brief MIDI(UART)で1バイト受信するたびに呼ばれるコールバック関数 (最終修正版)
  */
void HAL_UART_RxCpltCallback(UART_HandleTypeDef *huart)
{
	// 受信したバイトをバッファに入れるだけ
	Midi_Buffer_Write(midi_rx_byte);
	// 次の1バイトを再び割り込みモードで待つ
	HAL_UART_Receive_IT(&huart1, &midi_rx_byte, 1);
}

/**
  * @brief 受信したMIDIバイトを解析し、NoteOn/NoteOffを呼び出す (8和音対応版)
  */
void Process_MIDI_Byte(uint8_t byte)
{
	static uint8_t status = 0;
	static uint8_t byte1 = 0;

	if (byte >= 0x80) { // ステータスバイト
		status = byte;
		byte1 = 0;
	} else if (status != 0) { // データバイト
		if (byte1 == 0) {
			byte1 = byte;
		} else {
			uint8_t command = status & 0xF0;
			uint8_t note = byte1;
			uint8_t velocity = byte;

			if (command == 0x90 && velocity > 0) {
				if (Midi_NoteOn(note, velocity) == 0) {
					// もし音を鳴らせなかったら(戻り値が0なら)
					midi_voices_full_flag = 1;
				}
			} else { // Note Off または Velocity 0 の Note On
				Midi_NoteOff(note);
			}
			status = 0;
		}
	}
}

/**
  * @brief 空いているヴォイスを探して音を鳴らす (音圧調整対応・8和音版)
  * @retval 音を鳴らせたら1、空きヴォイスがなくて鳴らせなかったら0を返す
  */
uint8_t Midi_NoteOn(uint8_t note, uint8_t velocity)
{
	int8_t voice_index = -1;
	for (int i = 0; i < NUM_MIDI_VOICES; i++) {
		if (!midi_voices[i].active) {
			voice_index = i;
			break;
		}
	}
	if (voice_index == -1) {
		return 0; // 空きヴォイスがなければ0を返して終了
	}

	float freq = Midi_Note_To_Frequency(note);
	if (freq <= 0) {
		return 0;
	}

	midi_voices[voice_index].active = 1;
	midi_voices[voice_index].note_number = note;

	// 全タイマー1MHz動作なので、計算は共通
	uint32_t arr = (MIDI_COUNTS_PER_SEC / freq) - 1;
	uint32_t ccr = 0;
	float final_duty = 0.0f;

	// タイマーが16bitか32bitかでARRの上限をチェック
	switch(voice_index) {
		case 0: // TIM8 (16bit)
		case 2: // TIM3 (16bit)
		case 3: // TIM4 (16bit)
		case 5: // TIM14 (16bit)
		case 6: // TIM9 (16bit)
		case 7: // TIM12 (16bit)
			if (arr > 65535) arr = 65535;
			break;
		// ヴォイス1(TIM2), 4(TIM5)は32bitなのでチェック不要
	}

	midi_voices[voice_index].arr = arr;

	// モードに応じて適用するDuty比を決定
	if (current_mode == MODE_MIDI_LOUDNESS) {
		// 音圧調整モードなら、補正計算したDuty比を使う
		final_duty = Get_Adjusted_Duty(note);
	} else {
		// 通常モードなら、そのままのDuty比を使う
		final_duty = midi_duty_cycle;
	}
	ccr = arr * (final_duty / 100.0f);

	// ヴォイス番号に応じてタイマーのレジスタを更新
	switch(voice_index) {
		case 0:
			__HAL_TIM_SET_AUTORELOAD(&htim8, arr);
			__HAL_TIM_SET_COMPARE(&htim8, TIM_CHANNEL_1, ccr);
			HAL_TIM_GenerateEvent(&htim8, TIM_EVENTSOURCE_UPDATE);
			break;
		case 1:
			__HAL_TIM_SET_AUTORELOAD(&htim2, arr);
			__HAL_TIM_SET_COMPARE(&htim2, TIM_CHANNEL_1, ccr);
			HAL_TIM_GenerateEvent(&htim2, TIM_EVENTSOURCE_UPDATE);
			break;
		case 2:
			__HAL_TIM_SET_AUTORELOAD(&htim3, arr);
			__HAL_TIM_SET_COMPARE(&htim3, TIM_CHANNEL_1, ccr);
			HAL_TIM_GenerateEvent(&htim3, TIM_EVENTSOURCE_UPDATE);
			break;
		case 3:
			__HAL_TIM_SET_AUTORELOAD(&htim4, arr);
			__HAL_TIM_SET_COMPARE(&htim4, TIM_CHANNEL_1, ccr);
			HAL_TIM_GenerateEvent(&htim4, TIM_EVENTSOURCE_UPDATE);
			break;
		case 4:
			__HAL_TIM_SET_AUTORELOAD(&htim5, arr);
			__HAL_TIM_SET_COMPARE(&htim5, TIM_CHANNEL_1, ccr);
			HAL_TIM_GenerateEvent(&htim5, TIM_EVENTSOURCE_UPDATE);
			break;
		case 5:
			__HAL_TIM_SET_AUTORELOAD(&htim14, arr);
			__HAL_TIM_SET_COMPARE(&htim14, TIM_CHANNEL_1, ccr);
			HAL_TIM_GenerateEvent(&htim14, TIM_EVENTSOURCE_UPDATE);
			break;
		case 6:
			__HAL_TIM_SET_AUTORELOAD(&htim9, arr);
			__HAL_TIM_SET_COMPARE(&htim9, TIM_CHANNEL_1, ccr);
			HAL_TIM_GenerateEvent(&htim9, TIM_EVENTSOURCE_UPDATE);
			break;
		case 7:
			__HAL_TIM_SET_AUTORELOAD(&htim12, arr);
			__HAL_TIM_SET_COMPARE(&htim12, TIM_CHANNEL_1, ccr);
			HAL_TIM_GenerateEvent(&htim12, TIM_EVENTSOURCE_UPDATE);
			break;
	}
	return 1; // 成功
}

/**
  * @brief 指定されたノート番号の音を探して止める (8和音版)
  */
void Midi_NoteOff(uint8_t note)
{
	for (int i = 0; i < NUM_MIDI_VOICES; i++) {
		if (midi_voices[i].active && midi_voices[i].note_number == note) {
			midi_voices[i].active = 0;
			midi_voices[i].note_number = 0;
			midi_voices[i].arr = 0;

			// ヴォイス番号に応じてタイマーの音を止める
			switch(i) {
				case 0: __HAL_TIM_SET_COMPARE(&htim8, TIM_CHANNEL_1, 0); break;
				case 1: __HAL_TIM_SET_COMPARE(&htim2, TIM_CHANNEL_1, 0); break;
				case 2: __HAL_TIM_SET_COMPARE(&htim3, TIM_CHANNEL_1, 0); break;
				case 3: __HAL_TIM_SET_COMPARE(&htim4, TIM_CHANNEL_1, 0); break;
				case 4: __HAL_TIM_SET_COMPARE(&htim5, TIM_CHANNEL_1, 0); break;
				case 5: __HAL_TIM_SET_COMPARE(&htim14, TIM_CHANNEL_1, 0); break;
				case 6: __HAL_TIM_SET_COMPARE(&htim9, TIM_CHANNEL_1, 0); break;
				case 7: __HAL_TIM_SET_COMPARE(&htim12, TIM_CHANNEL_1, 0); break;
			}
			break;
		}
	}
}

/**
  * @brief MIDIモード時の処理 (音圧調整対応・8和音リアルタイムDuty更新)
  */
void Update_MIDI_Mode(void)
{
	uint8_t byte;
	// リングバッファからMIDIデータを読み取り、処理する
	while (Midi_Buffer_Read(&byte)) {
		Process_MIDI_Byte(byte);
	}

	// 可変抵抗(A1)から基本となるDuty比を計算
	uint16_t adc_duty = stable_adc_values[0];
	midi_duty_cycle = (float)adc_duty * 25.0f / 4095.0f;

	// 発音中の全ヴォイスのDuty比をリアルタイムで更新
	for (int i=0; i < NUM_MIDI_VOICES; i++) {
		if (midi_voices[i].active) {
			float final_duty;
			// モードに応じて適用するDuty比を決定
			if (current_mode == MODE_MIDI_LOUDNESS) {
				// 音圧調整モードなら、補正計算したDuty比を使う
				final_duty = Get_Adjusted_Duty(midi_voices[i].note_number);
			} else {
				// 通常モードなら、そのままのDuty比を使う
				final_duty = midi_duty_cycle;
			}
			uint32_t new_ccr = midi_voices[i].arr * (final_duty / 100.0f);

			// ヴォイス番号に応じて、該当タイマーのCCRを更新
			switch(i) {
				case 0: __HAL_TIM_SET_COMPARE(&htim8, TIM_CHANNEL_1, new_ccr); break;
				case 1: __HAL_TIM_SET_COMPARE(&htim2, TIM_CHANNEL_1, new_ccr); break;
				case 2: __HAL_TIM_SET_COMPARE(&htim3, TIM_CHANNEL_1, new_ccr); break;
				case 3: __HAL_TIM_SET_COMPARE(&htim4, TIM_CHANNEL_1, new_ccr); break;
				case 4: __HAL_TIM_SET_COMPARE(&htim5, TIM_CHANNEL_1, new_ccr); break;
				case 5: __HAL_TIM_SET_COMPARE(&htim14, TIM_CHANNEL_1, new_ccr); break;
				case 6: __HAL_TIM_SET_COMPARE(&htim9, TIM_CHANNEL_1, new_ccr); break;
				case 7: __HAL_TIM_SET_COMPARE(&htim12, TIM_CHANNEL_1, new_ccr); break;
			}
		}
	}
}

/**
  * @brief MIDIノート番号を周波数(Hz)に変換する
  */
float Midi_Note_To_Frequency(uint8_t note)
{
	// f = 440 * 2^((n-69)/12)
	return 440.0f * powf(2.0f, (float)(note - 69) / 12.0f);
}

void Set_TIM2_Prescaler(uint16_t new_prescaler)
{
    if (current_tim2_prescaler == new_prescaler) return;

    HAL_TIM_PWM_Stop(&htim2, TIM_CHANNEL_1);
    __HAL_TIM_SET_PRESCALER(&htim2, new_prescaler);
    __HAL_TIM_SET_COUNTER(&htim2, 0); // カウンタ初期化
    HAL_TIM_PWM_Start(&htim2, TIM_CHANNEL_1);

    current_tim2_prescaler = new_prescaler;
}

/**
  * @brief  ノート番号に応じて音圧調整されたDuty比を計算して返す
  * @param  note_number : MIDIノート番号
  * @retval 調整後のDuty比(%)
  */
float Get_Adjusted_Duty(uint8_t note_number)
{
	// 1. ノート番号に応じた補正係数 f(x) を計算
	//float correction_factor = 1.0f - 0.015f * (float)(note_number - 69);
	const float x = (float)note_number;
	const float a = 150.0f;
	float numerator = (x - a) * (x - a);
	const float denominator = (a - 69.0f) * (a - 69.0f); // (171*171 = 29241)
	float correction_factor = numerator / denominator;

	// 2. 基本となるDuty比に補正係数を掛ける
	float adjusted_duty = midi_duty_cycle * correction_factor;

	// 3. 計算結果が上限(25%)や下限(0%)を超えないように制限する
	if (adjusted_duty > 25.0f) {
		adjusted_duty = 25.0f;
	}
	if (adjusted_duty < 0.0f) {
		adjusted_duty = 0.0f;
	}

	return adjusted_duty;
}

/* USER CODE END 4 */

void HAL_TIM_PeriodElapsedCallback(TIM_HandleTypeDef *htim)
{
  if (htim->Instance == TIM6)
  {
    HAL_IncTick();
  }
}

void Error_Handler(void)
{
}
